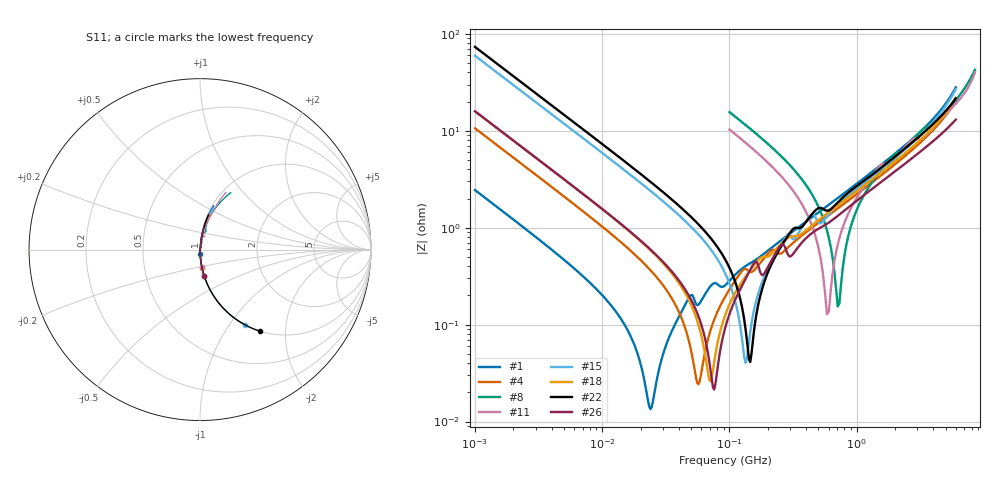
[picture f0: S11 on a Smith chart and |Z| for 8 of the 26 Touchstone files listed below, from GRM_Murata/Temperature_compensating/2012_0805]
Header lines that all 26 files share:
!These Parameters are Measured in Series Mode Connection
!Data Generated on Mar 30, 2021
!  o--ll--o
!Port1  Port2
!  o------o
!Operation Temp=25[degC], DC Bias Voltage=0[V]
# Hz S RI R 50
!Freq.(Hz) S11(Real) S11(Imag) S21(Real) S21(Imag) S12(Real) S12(Imag) S22(Real) S22(Imag)
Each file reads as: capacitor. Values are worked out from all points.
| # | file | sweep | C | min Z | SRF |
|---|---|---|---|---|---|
| 1 | GRM21B7U1A683JA01.s2p | 1 MHz to 6 GHz | 65 nF | 13.5 mohm | 24.04 MHz |
| 2 | GRM21B7U1A823JA01.s2p | 1 MHz to 6 GHz | 83.9 nF | 12.3 mohm | 22.21 MHz |
| 3 | GRM2161X1H123JA01.s2p | 1 MHz to 6 GHz | 11.8 nF | 22 mohm | 64.69 MHz |
| 4 | GRM2161X1H153JA01.s2p | 1 MHz to 6 GHz | 15 nF | 24.3 mohm | 57.05 MHz |
| 5 | GRM2162C1H332JA01.s2p | 1 MHz to 6 GHz | 3.25 nF | 37.2 mohm | 120.5 MHz |
| 6 | GRM2162C1H392JA01.s2p | 1 MHz to 6 GHz | 3.87 nF | 34.9 mohm | 114.2 MHz |
| 7 | GRM2162C1H472JA01.s2p | 1 MHz to 6 GHz | 4.67 nF | 32.4 mohm | 105.5 MHz |
| 8 | GRM2162C2A101JA01.s2p | 100 MHz to 8.5 GHz | 100 pF | 154 mohm | 717.6 MHz |
| 9 | GRM2162C2A102JA01.s2p | 1 MHz to 6 GHz | 981 pF | 61.5 mohm | 218.9 MHz |
| 10 | GRM2162C2A121JA01.s2p | 100 MHz to 8.5 GHz | 120 pF | 139 mohm | 692.2 MHz |
| 11 | GRM2162C2A151JA01.s2p | 100 MHz to 8.5 GHz | 150 pF | 128 mohm | 592.4 MHz |
| 12 | GRM2162C2A181JA01.s2p | 100 MHz to 8.5 GHz | 180 pF | 117 mohm | 535.1 MHz |
| 13 | GRM2162C2A182JA01.s2p | 1 MHz to 6 GHz | 1.76 nF | 42.6 mohm | 166.7 MHz |
| 14 | GRM2162C2A271JA01.s2p | 100 MHz to 8.5 GHz | 270 pF | 97.5 mohm | 452.5 MHz |
| 15 | GRM2162C2A272JA01.s2p | 1 MHz to 6 GHz | 2.68 nF | 40.4 mohm | 134.3 MHz |
| 16 | GRM2162C2A331JA01.s2p | 100 MHz to 8.5 GHz | 330 pF | 96.9 mohm | 373.6 MHz |
| 17 | GRM2162C2A471JA01.s2p | 100 MHz to 8.5 GHz | 470 pF | 101 mohm | 319.9 MHz |
| 18 | GRM2163U1H103JA01.s2p | 1 MHz to 6 GHz | 10 nF | 26 mohm | 70.8 MHz |
| 19 | GRM2165C1H122JA01.s2p | 1 MHz to 6 GHz | 1.16 nF | 54.7 mohm | 204 MHz |
| 20 | GRM2165C1H152JA01.s2p | 1 MHz to 6 GHz | 1.48 nF | 50.3 mohm | 179.8 MHz |
| 21 | GRM2165C1H183JA01.s2p | 1 MHz to 6 GHz | 18 nF | 18.5 mohm | 53.66 MHz |
| 22 | GRM2165C1H222JA01.s2p | 1 MHz to 6 GHz | 2.17 nF | 41.2 mohm | 144.9 MHz |
| 23 | GRM2165C1H223JA01.s2p | 1 MHz to 6 GHz | 22 nF | 17.7 mohm | 48.88 MHz |
| 24 | GRM2165C1H272JA01.s2p | 1 MHz to 6 GHz | 2.73 nF | 42.6 mohm | 127.2 MHz |
| 25 | GRM2165C1H333GA01.s2p | 1 MHz to 6 GHz | 33.2 nF | 15.6 mohm | 40.08 MHz |
| 26 | GRM2165C2A103GA01.s2p | 1 MHz to 6 GHz | 10 nF | 21.4 mohm | 75.54 MHz |
